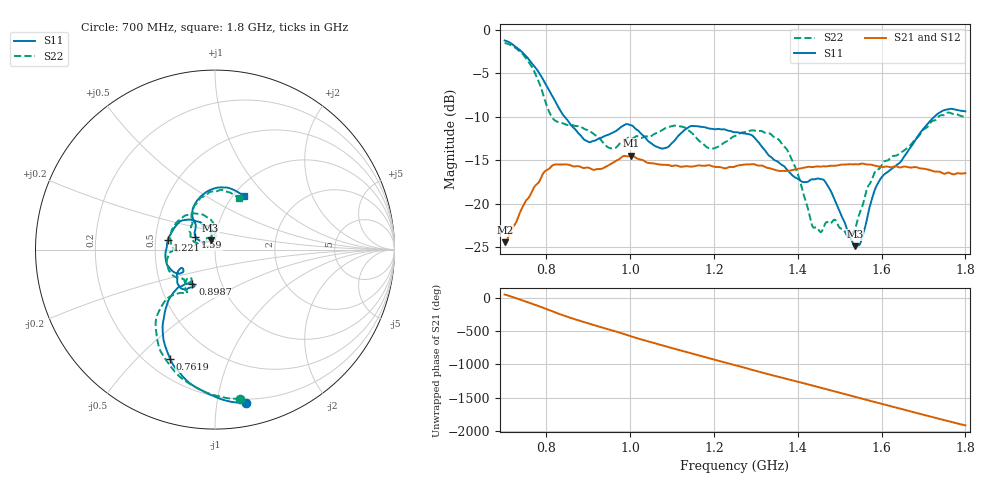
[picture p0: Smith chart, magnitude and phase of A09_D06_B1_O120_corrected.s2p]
! Created with skrf 1.9.0 (http://scikit-rf.org).
# Hz S RI R 50.0
!freq ReS11 ImS11 ReS21 ImS21 ReS12 ImS12 ReS22 ImS22
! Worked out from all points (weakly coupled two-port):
!   1601 points, 700 MHz to 1.8 GHz, reference 50 ohm
!   highest |S21| = -14.44 dB at 1.002 GHz (marker M1); lowest = -24.4 dB at 700.7 MHz (marker M2)
!   lowest |S11| = -24.9 dB at 1.537 GHz (marker M3), VSWR 1.12, Z = 47.3 + j4.86 ohm
!   |S11| at or under -10 dB: 843.4 MHz to 1.726 GHz (882.1 MHz wide, 68.7 % of centre)
!   |S22| runs from -23.8 to -1.5 dB; largest |S21 - S12| = 0.0034
!   S11 on the Smith chart (normalised r, x): 700 MHz: 0.17, -1.21; 761.9 MHz: 0.29, -0.63; 898.7 MHz: 0.73, -0.29; 1.221 GHz: 0.58, +0.07; 1.59 GHz: 0.80, +0.11; 1.8 GHz: 1.12, +0.76
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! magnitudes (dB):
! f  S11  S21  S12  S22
! 700 MHz  -1.2  -24.4  -24.2  -1.5
! 700.7 MHz  -1.2  -24.4  -24.1  -1.5
! 761.9 MHz  -3.6  -18.9  -18.9  -4.0
! 815.5 MHz  -7.7  -15.5  -15.6  -10.2
! 883.6 MHz  -12.3  -15.8  -15.7  -11.2
! 898.7 MHz  -12.8  -15.8  -15.9  -11.5
! 953.7 MHz  -11.9  -15.4  -15.4  -13.6
! 1.002 GHz  -11.0  -14.4  -14.5  -12.4
! 1.067 GHz  -13.5  -15.5  -15.4  -11.8
! 1.145 GHz  -11.1  -15.7  -15.7  -11.8
! 1.221 GHz  -11.4  -15.9  -15.9  -13.1
! 1.25 GHz  -11.8  -15.7  -15.6  -12.2
! 1.357 GHz  -15.3  -16.2  -16.2  -12.7
! 1.395 GHz  -17.0  -16.0  -16.0  -15.9
! 1.434 GHz  -17.2  -15.8  -15.7  -22.4
! 1.469 GHz  -17.7  -15.7  -15.7  -22.1
! 1.537 GHz  -24.9  -15.4  -15.5  -22.9
! 1.551 GHz  -24.2  -15.4  -15.4  -20.7
! 1.59 GHz  -17.7  -15.7  -15.7  -16.1
! 1.617 GHz  -16.2  -15.8  -15.7  -14.9
! 1.733 GHz  -9.7  -16.3  -16.3  -10.1
! 1.8 GHz  -9.4  -16.5  -16.5  -10.0
